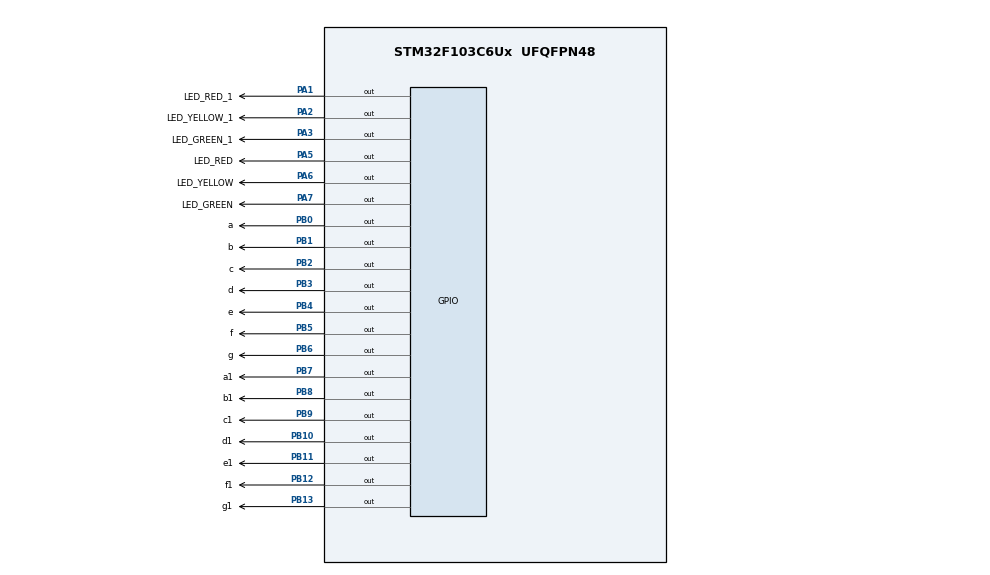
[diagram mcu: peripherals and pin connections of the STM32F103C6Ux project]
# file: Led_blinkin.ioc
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Mcu.Family=STM32F1
Mcu.Name=STM32F103C6Ux
Mcu.Package=UFQFPN48
NVIC.PriorityGroup=NVIC_PRIORITYGROUP_4
PA1.GPIO_Label=LED_RED_1
PA1.Signal=GPIO_Output
PA2.GPIO_Label=LED_YELLOW_1
PA2.Signal=GPIO_Output
PA3.GPIO_Label=LED_GREEN_1
PA3.Signal=GPIO_Output
PA5.GPIO_Label=LED_RED
PA5.Signal=GPIO_Output
PA6.GPIO_Label=LED_YELLOW
PA6.Signal=GPIO_Output
PA7.GPIO_Label=LED_GREEN
PA7.Signal=GPIO_Output
PB0.GPIO_Label=a
PB0.Signal=GPIO_Output
PB1.GPIO_Label=b
PB1.Signal=GPIO_Output
PB10.GPIO_Label=d1
PB10.Signal=GPIO_Output
PB11.GPIO_Label=e1
PB11.Signal=GPIO_Output
PB12.GPIO_Label=f1
PB12.Signal=GPIO_Output
PB13.GPIO_Label=g1
PB13.Signal=GPIO_Output
PB2.GPIO_Label=c
PB2.Signal=GPIO_Output
PB3.GPIO_Label=d
PB3.Signal=GPIO_Output
PB4.GPIO_Label=e
PB4.Signal=GPIO_Output
PB5.GPIO_Label=f
PB5.Signal=GPIO_Output
PB6.GPIO_Label=g
PB6.Signal=GPIO_Output
PB7.GPIO_Label=a1
PB7.Signal=GPIO_Output
PB8.GPIO_Label=b1
PB8.Signal=GPIO_Output
PB9.GPIO_Label=c1
PB9.Signal=GPIO_Output
ProjectManager.HeapSize=0x200
ProjectManager.StackSize=0x400
ProjectManager.TargetToolchain=STM32CubeIDE
RCC.APB1Freq_Value=8000000
RCC.APB2Freq_Value=8000000
VP_SYS_VS_ND.Mode=No_Debug
board=custom

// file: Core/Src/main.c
/* USER CODE BEGIN Header */
/**
  ******************************************************************************
  * @file           : main.c
  * @brief          : Main program body
  ******************************************************************************
  * @attention
  *
  * <h2><center>&copy; Copyright (c) 2022 STMicroelectronics.
  * All rights reserved.</center></h2>
  *
  * This software component is licensed by ST under BSD 3-Clause license,
  * the "License"; You may not use this file except in compliance with the
  * License. You may obtain a copy of the License at:
  *                        opensource.org/licenses/BSD-3-Clause
  *
  ******************************************************************************
  */
/* USER CODE END Header */
#include "main.h"

void SystemClock_Config(void);
static void MX_GPIO_Init(void);

/* USER CODE BEGIN 0 */
void display7SEG2(int numb)
{
	    if(numb == 0)
		{
			HAL_GPIO_WritePin(a1_GPIO_Port, a1_Pin, GPIO_PIN_RESET);
			HAL_GPIO_WritePin(b1_GPIO_Port, b1_Pin, GPIO_PIN_RESET);
			HAL_GPIO_WritePin(c1_GPIO_Port, c1_Pin, GPIO_PIN_RESET);
			HAL_GPIO_WritePin(d1_GPIO_Port, d1_Pin, GPIO_PIN_RESET);
			HAL_GPIO_WritePin(e1_GPIO_Port, e1_Pin, GPIO_PIN_RESET);
			HAL_GPIO_WritePin(f1_GPIO_Port, f1_Pin, GPIO_PIN_RESET);
			HAL_GPIO_WritePin(g1_GPIO_Port, g1_Pin, GPIO_PIN_SET);
		}
		if(numb == 1)
		{
			HAL_GPIO_WritePin(a1_GPIO_Port, a1_Pin, GPIO_PIN_SET);
			HAL_GPIO_WritePin(b1_GPIO_Port, b1_Pin, GPIO_PIN_RESET);
			HAL_GPIO_WritePin(c1_GPIO_Port, c1_Pin, GPIO_PIN_RESET);
			HAL_GPIO_WritePin(d1_GPIO_Port, d1_Pin, GPIO_PIN_SET);
			HAL_GPIO_WritePin(e1_GPIO_Port, e1_Pin, GPIO_PIN_SET);
			HAL_GPIO_WritePin(f1_GPIO_Port, f1_Pin, GPIO_PIN_SET);
			HAL_GPIO_WritePin(g1_GPIO_Port, g1_Pin, GPIO_PIN_SET);
		}
		if(numb == 2)
		{
			HAL_GPIO_WritePin(a1_GPIO_Port, a1_Pin, GPIO_PIN_RESET);
			HAL_GPIO_WritePin(b1_GPIO_Port, b1_Pin, GPIO_PIN_RESET);
			HAL_GPIO_WritePin(c1_GPIO_Port, c1_Pin, GPIO_PIN_SET);
			HAL_GPIO_WritePin(d1_GPIO_Port, d1_Pin, GPIO_PIN_RESET);
			HAL_GPIO_WritePin(e1_GPIO_Port, e1_Pin, GPIO_PIN_RESET);
			HAL_GPIO_WritePin(f1_GPIO_Port, f1_Pin, GPIO_PIN_SET);
			HAL_GPIO_WritePin(g1_GPIO_Port, g1_Pin, GPIO_PIN_RESET);
		}
		if(numb == 3)
		{
			HAL_GPIO_WritePin(a1_GPIO_Port, a1_Pin, GPIO_PIN_RESET);
			HAL_GPIO_WritePin(b1_GPIO_Port, b1_Pin, GPIO_PIN_RESET);
			HAL_GPIO_WritePin(c1_GPIO_Port, c1_Pin, GPIO_PIN_RESET);
			HAL_GPIO_WritePin(d1_GPIO_Port, d1_Pin, GPIO_PIN_RESET);
			HAL_GPIO_WritePin(e1_GPIO_Port, e1_Pin, GPIO_PIN_SET);
			HAL_GPIO_WritePin(f1_GPIO_Port, f1_Pin, GPIO_PIN_SET);
			HAL_GPIO_WritePin(g1_GPIO_Port, g1_Pin, GPIO_PIN_RESET);
		}
		if(numb == 4)
			{
				HAL_GPIO_WritePin(a1_GPIO_Port, a1_Pin, GPIO_PIN_SET);
				HAL_GPIO_WritePin(b1_GPIO_Port, b1_Pin, GPIO_PIN_RESET);
				HAL_GPIO_WritePin(c1_GPIO_Port, c1_Pin, GPIO_PIN_RESET);
				HAL_GPIO_WritePin(d1_GPIO_Port, d1_Pin, GPIO_PIN_SET);
				HAL_GPIO_WritePin(e1_GPIO_Port, e1_Pin, GPIO_PIN_SET);
				HAL_GPIO_WritePin(f1_GPIO_Port, f1_Pin, GPIO_PIN_RESET);
				HAL_GPIO_WritePin(g1_GPIO_Port, g1_Pin, GPIO_PIN_RESET);
			}
		if(numb == 5)
			{
				HAL_GPIO_WritePin(a1_GPIO_Port, a1_Pin, GPIO_PIN_RESET);
				HAL_GPIO_WritePin(b1_GPIO_Port, b1_Pin, GPIO_PIN_SET);
				HAL_GPIO_WritePin(c1_GPIO_Port, c1_Pin, GPIO_PIN_RESET);
				HAL_GPIO_WritePin(d1_GPIO_Port, d1_Pin, GPIO_PIN_RESET);
				HAL_GPIO_WritePin(e1_GPIO_Port, e1_Pin, GPIO_PIN_SET);
				HAL_GPIO_WritePin(f1_GPIO_Port, f1_Pin, GPIO_PIN_RESET);
				HAL_GPIO_WritePin(g1_GPIO_Port, g1_Pin, GPIO_PIN_RESET);
			}
		if(numb == 6)
			{
				HAL_GPIO_WritePin(a1_GPIO_Port, a1_Pin, GPIO_PIN_RESET);
				HAL_GPIO_WritePin(b1_GPIO_Port, b1_Pin, GPIO_PIN_SET);
				HAL_GPIO_WritePin(c1_GPIO_Port, c1_Pin, GPIO_PIN_RESET);
				HAL_GPIO_WritePin(d1_GPIO_Port, d1_Pin, GPIO_PIN_RESET);
				HAL_GPIO_WritePin(e1_GPIO_Port, e1_Pin, GPIO_PIN_RESET);
				HAL_GPIO_WritePin(f1_GPIO_Port, f1_Pin, GPIO_PIN_RESET);
				HAL_GPIO_WritePin(g1_GPIO_Port, g1_Pin, GPIO_PIN_RESET);
			}
		if(numb == 7)
			{
				HAL_GPIO_WritePin(a1_GPIO_Port, a1_Pin, GPIO_PIN_RESET);
				HAL_GPIO_WritePin(b1_GPIO_Port, b1_Pin, GPIO_PIN_RESET);
				HAL_GPIO_WritePin(c1_GPIO_Port, c1_Pin, GPIO_PIN_RESET);
				HAL_GPIO_WritePin(d1_GPIO_Port, d1_Pin, GPIO_PIN_SET);
				HAL_GPIO_WritePin(e1_GPIO_Port, e1_Pin, GPIO_PIN_SET);
				HAL_GPIO_WritePin(f1_GPIO_Port, f1_Pin, GPIO_PIN_SET);
				HAL_GPIO_WritePin(g1_GPIO_Port, g1_Pin, GPIO_PIN_SET);
			}
		if(numb == 8)
			{
				HAL_GPIO_WritePin(a1_GPIO_Port, a1_Pin, GPIO_PIN_RESET);
				HAL_GPIO_WritePin(b1_GPIO_Port, b1_Pin, GPIO_PIN_RESET);
				HAL_GPIO_WritePin(c1_GPIO_Port, c1_Pin, GPIO_PIN_RESET);
				HAL_GPIO_WritePin(d1_GPIO_Port, d1_Pin, GPIO_PIN_RESET);
				HAL_GPIO_WritePin(e1_GPIO_Port, e1_Pin, GPIO_PIN_RESET);
				HAL_GPIO_WritePin(f1_GPIO_Port, f1_Pin, GPIO_PIN_RESET);
				HAL_GPIO_WritePin(g1_GPIO_Port, g1_Pin, GPIO_PIN_RESET);
			}
		if(numb == 9)
			{
				HAL_GPIO_WritePin(a1_GPIO_Port, a1_Pin, GPIO_PIN_RESET);
				HAL_GPIO_WritePin(b1_GPIO_Port, b1_Pin, GPIO_PIN_RESET);
				HAL_GPIO_WritePin(c1_GPIO_Port, c1_Pin, GPIO_PIN_RESET);
				HAL_GPIO_WritePin(d1_GPIO_Port, d1_Pin, GPIO_PIN_RESET);
				HAL_GPIO_WritePin(e1_GPIO_Port, e1_Pin, GPIO_PIN_SET);
				HAL_GPIO_WritePin(f1_GPIO_Port, f1_Pin, GPIO_PIN_RESET);
				HAL_GPIO_WritePin(g1_GPIO_Port, g1_Pin, GPIO_PIN_RESET);
			}
}
void display7SEG(int numb)
{
	if(numb == 0)
	{
		HAL_GPIO_WritePin(a_GPIO_Port, a_Pin, GPIO_PIN_RESET);
		HAL_GPIO_WritePin(b_GPIO_Port, b_Pin, GPIO_PIN_RESET);
		HAL_GPIO_WritePin(c_GPIO_Port, c_Pin, GPIO_PIN_RESET);
		HAL_GPIO_WritePin(d_GPIO_Port, d_Pin, GPIO_PIN_RESET);
		HAL_GPIO_WritePin(e_GPIO_Port, e_Pin, GPIO_PIN_RESET);
		HAL_GPIO_WritePin(f_GPIO_Port, f_Pin, GPIO_PIN_RESET);
		HAL_GPIO_WritePin(g_GPIO_Port, g_Pin, GPIO_PIN_SET);
	}
	if(numb == 1)
	{
		HAL_GPIO_WritePin(a_GPIO_Port, a_Pin, GPIO_PIN_SET);
		HAL_GPIO_WritePin(b_GPIO_Port, b_Pin, GPIO_PIN_RESET);
		HAL_GPIO_WritePin(c_GPIO_Port, c_Pin, GPIO_PIN_RESET);
		HAL_GPIO_WritePin(d_GPIO_Port, d_Pin, GPIO_PIN_SET);
		HAL_GPIO_WritePin(e_GPIO_Port, e_Pin, GPIO_PIN_SET);
		HAL_GPIO_WritePin(f_GPIO_Port, f_Pin, GPIO_PIN_SET);
		HAL_GPIO_WritePin(g_GPIO_Port, g_Pin, GPIO_PIN_SET);
	}
	if(numb == 2)
	{
		HAL_GPIO_WritePin(a_GPIO_Port, a_Pin, GPIO_PIN_RESET);
		HAL_GPIO_WritePin(b_GPIO_Port, b_Pin, GPIO_PIN_RESET);
		HAL_GPIO_WritePin(c_GPIO_Port, c_Pin, GPIO_PIN_SET);
		HAL_GPIO_WritePin(d_GPIO_Port, d_Pin, GPIO_PIN_RESET);
		HAL_GPIO_WritePin(e_GPIO_Port, e_Pin, GPIO_PIN_RESET);
		HAL_GPIO_WritePin(f_GPIO_Port, f_Pin, GPIO_PIN_SET);
		HAL_GPIO_WritePin(g_GPIO_Port, g_Pin, GPIO_PIN_RESET);
	}
	if(numb == 3)
	{
		HAL_GPIO_WritePin(a_GPIO_Port, a_Pin, GPIO_PIN_RESET);
		HAL_GPIO_WritePin(b_GPIO_Port, b_Pin, GPIO_PIN_RESET);
		HAL_GPIO_WritePin(c_GPIO_Port, c_Pin, GPIO_PIN_RESET);
		HAL_GPIO_WritePin(d_GPIO_Port, d_Pin, GPIO_PIN_RESET);
		HAL_GPIO_WritePin(e_GPIO_Port, e_Pin, GPIO_PIN_SET);
		HAL_GPIO_WritePin(f_GPIO_Port, f_Pin, GPIO_PIN_SET);
		HAL_GPIO_WritePin(g_GPIO_Port, g_Pin, GPIO_PIN_RESET);
	}
	if(numb == 4)
		{
			HAL_GPIO_WritePin(a_GPIO_Port, a_Pin, GPIO_PIN_SET);
			HAL_GPIO_WritePin(b_GPIO_Port, b_Pin, GPIO_PIN_RESET);
			HAL_GPIO_WritePin(c_GPIO_Port, c_Pin, GPIO_PIN_RESET);
			HAL_GPIO_WritePin(d_GPIO_Port, d_Pin, GPIO_PIN_SET);
			HAL_GPIO_WritePin(e_GPIO_Port, e_Pin, GPIO_PIN_SET);
			HAL_GPIO_WritePin(f_GPIO_Port, f_Pin, GPIO_PIN_RESET);
			HAL_GPIO_WritePin(g_GPIO_Port, g_Pin, GPIO_PIN_RESET);
		}
	if(numb == 5)
		{
			HAL_GPIO_WritePin(a_GPIO_Port, a_Pin, GPIO_PIN_RESET);
			HAL_GPIO_WritePin(b_GPIO_Port, b_Pin, GPIO_PIN_SET);
			HAL_GPIO_WritePin(c_GPIO_Port, c_Pin, GPIO_PIN_RESET);
			HAL_GPIO_WritePin(d_GPIO_Port, d_Pin, GPIO_PIN_RESET);
			HAL_GPIO_WritePin(e_GPIO_Port, e_Pin, GPIO_PIN_SET);
			HAL_GPIO_WritePin(f_GPIO_Port, f_Pin, GPIO_PIN_RESET);
			HAL_GPIO_WritePin(g_GPIO_Port, g_Pin, GPIO_PIN_RESET);
		}
	if(numb == 6)
		{
			HAL_GPIO_WritePin(a_GPIO_Port, a_Pin, GPIO_PIN_RESET);
			HAL_GPIO_WritePin(b_GPIO_Port, b_Pin, GPIO_PIN_SET);
			HAL_GPIO_WritePin(c_GPIO_Port, c_Pin, GPIO_PIN_RESET);
			HAL_GPIO_WritePin(d_GPIO_Port, d_Pin, GPIO_PIN_RESET);
			HAL_GPIO_WritePin(e_GPIO_Port, e_Pin, GPIO_PIN_RESET);
			HAL_GPIO_WritePin(f_GPIO_Port, f_Pin, GPIO_PIN_RESET);
			HAL_GPIO_WritePin(g_GPIO_Port, g_Pin, GPIO_PIN_RESET);
		}
	if(numb == 7)
		{
			HAL_GPIO_WritePin(a_GPIO_Port, a_Pin, GPIO_PIN_RESET);
			HAL_GPIO_WritePin(b_GPIO_Port, b_Pin, GPIO_PIN_RESET);
			HAL_GPIO_WritePin(c_GPIO_Port, c_Pin, GPIO_PIN_RESET);
			HAL_GPIO_WritePin(d_GPIO_Port, d_Pin, GPIO_PIN_SET);
			HAL_GPIO_WritePin(e_GPIO_Port, e_Pin, GPIO_PIN_SET);
			HAL_GPIO_WritePin(f_GPIO_Port, f_Pin, GPIO_PIN_SET);
			HAL_GPIO_WritePin(g_GPIO_Port, g_Pin, GPIO_PIN_SET);
		}
	if(numb == 8)
		{
			HAL_GPIO_WritePin(a_GPIO_Port, a_Pin, GPIO_PIN_RESET);
			HAL_GPIO_WritePin(b_GPIO_Port, b_Pin, GPIO_PIN_RESET);
			HAL_GPIO_WritePin(c_GPIO_Port, c_Pin, GPIO_PIN_RESET);
			HAL_GPIO_WritePin(d_GPIO_Port, d_Pin, GPIO_PIN_RESET);
			HAL_GPIO_WritePin(e_GPIO_Port, e_Pin, GPIO_PIN_RESET);
			HAL_GPIO_WritePin(f_GPIO_Port, f_Pin, GPIO_PIN_RESET);
			HAL_GPIO_WritePin(g_GPIO_Port, g_Pin, GPIO_PIN_RESET);
		}
	if(numb == 9)
		{
			HAL_GPIO_WritePin(a_GPIO_Port, a_Pin, GPIO_PIN_RESET);
			HAL_GPIO_WritePin(b_GPIO_Port, b_Pin, GPIO_PIN_RESET);
			HAL_GPIO_WritePin(c_GPIO_Port, c_Pin, GPIO_PIN_RESET);
			HAL_GPIO_WritePin(d_GPIO_Port, d_Pin, GPIO_PIN_RESET);
			HAL_GPIO_WritePin(e_GPIO_Port, e_Pin, GPIO_PIN_SET);
			HAL_GPIO_WritePin(f_GPIO_Port, f_Pin, GPIO_PIN_RESET);
			HAL_GPIO_WritePin(g_GPIO_Port, g_Pin, GPIO_PIN_RESET);
		}

}
/* USER CODE END 0 */

int main(void)
{

  /* MCU Configuration--------------------------------------------------------*/

  /* Reset of all peripherals, Initializes the Flash interface and the Systick. */
  HAL_Init();

  /* Configure the system clock */
  SystemClock_Config();

  /* Initialize all configured peripherals */
  MX_GPIO_Init();

  /* Infinite loop */
  /* USER CODE BEGIN WHILE */
  int count_time = 0;
  while (1)
  {
	  if(count_time > 9) count_time = 0;
	  if(count_time <= 2 ) /* green on the first and red on the second */
	  	  {
		  	display7SEG(2 - count_time);
		  	display7SEG2(4 - count_time);
		  	HAL_GPIO_WritePin(LED_RED_GPIO_Port, LED_RED_Pin, GPIO_PIN_SET);
	  	    HAL_GPIO_WritePin(LED_YELLOW_GPIO_Port, LED_YELLOW_Pin, GPIO_PIN_SET);
	  	    HAL_GPIO_WritePin(LED_GREEN_1_GPIO_Port, LED_GREEN_1_Pin, GPIO_PIN_SET);
	  		HAL_GPIO_WritePin(LED_YELLOW_1_GPIO_Port, LED_YELLOW_1_Pin, GPIO_PIN_SET);
	  		HAL_GPIO_WritePin(LED_GREEN_GPIO_Port, LED_GREEN_Pin, GPIO_PIN_RESET);
	  		HAL_GPIO_WritePin(LED_RED_1_GPIO_Port, LED_RED_1_Pin, GPIO_PIN_RESET);
	  	  }
	  else if(count_time <= 4) /*yellow on the first and red on the second */
	  	  {
	  		display7SEG(4 - count_time);
	  		display7SEG2(4 - count_time);
	  		HAL_GPIO_WritePin(LED_GREEN_1_GPIO_Port, LED_GREEN_1_Pin, GPIO_PIN_SET);
	  		HAL_GPIO_WritePin(LED_YELLOW_1_GPIO_Port, LED_YELLOW_1_Pin, GPIO_PIN_SET);
	  		HAL_GPIO_WritePin(LED_GREEN_GPIO_Port, LED_GREEN_Pin, GPIO_PIN_SET);
	  	    HAL_GPIO_WritePin(LED_RED_GPIO_Port, LED_RED_Pin, GPIO_PIN_SET);
	  		HAL_GPIO_WritePin(LED_YELLOW_GPIO_Port, LED_YELLOW_Pin, GPIO_PIN_RESET);
	  		HAL_GPIO_WritePin(LED_RED_1_GPIO_Port, LED_RED_1_Pin, GPIO_PIN_RESET);
	  	  }
	  else if(count_time <= 7) /*red on the first and green on the second*/
	  	  {
	  		display7SEG(9 - count_time);
	  		display7SEG2(7 - count_time);
	  		HAL_GPIO_WritePin(LED_YELLOW_GPIO_Port, LED_YELLOW_Pin, GPIO_PIN_SET);
	  		HAL_GPIO_WritePin(LED_GREEN_GPIO_Port, LED_GREEN_Pin, GPIO_PIN_SET);
	  		HAL_GPIO_WritePin(LED_RED_1_GPIO_Port, LED_RED_1_Pin, GPIO_PIN_SET);
	  		HAL_GPIO_WritePin(LED_YELLOW_1_GPIO_Port, LED_YELLOW_1_Pin, GPIO_PIN_SET);
	  		HAL_GPIO_WritePin(LED_RED_GPIO_Port, LED_RED_Pin, GPIO_PIN_RESET);
	  		HAL_GPIO_WritePin(LED_GREEN_1_GPIO_Port, LED_GREEN_1_Pin, GPIO_PIN_RESET);
	  	  }
	  else if(count_time <= 9) /*red on the first and yellow on the second*/
	  	  {
	  		display7SEG(9 - count_time);
	  		display7SEG2(9 - count_time);
	  		HAL_GPIO_WritePin(LED_YELLOW_GPIO_Port, LED_YELLOW_Pin, GPIO_PIN_SET);
	  		HAL_GPIO_WritePin(LED_GREEN_GPIO_Port, LED_GREEN_Pin, GPIO_PIN_SET);
	  		HAL_GPIO_WritePin(LED_GREEN_1_GPIO_Port, LED_GREEN_1_Pin, GPIO_PIN_SET);
	  		HAL_GPIO_WritePin(LED_RED_1_GPIO_Port, LED_RED_1_Pin, GPIO_PIN_SET);
	  		HAL_GPIO_WritePin(LED_RED_GPIO_Port, LED_RED_Pin, GPIO_PIN_RESET);
	  		HAL_GPIO_WritePin(LED_YELLOW_1_GPIO_Port, LED_YELLOW_1_Pin, GPIO_PIN_RESET);
	  	  }
	  	  count_time++;
	  	  HAL_Delay(1000);

    /* USER CODE END WHILE */

  }
}

void SystemClock_Config(void)
{
  RCC_OscInitTypeDef RCC_OscInitStruct = {0};
  RCC_ClkInitTypeDef RCC_ClkInitStruct = {0};

  /** Initializes the RCC Oscillators according to the specified parameters
  * in the RCC_OscInitTypeDef structure.
  */
  RCC_OscInitStruct.OscillatorType = RCC_OSCILLATORTYPE_HSI;
  RCC_OscInitStruct.HSIState = RCC_HSI_ON;
  RCC_OscInitStruct.HSICalibrationValue = RCC_HSICALIBRATION_DEFAULT;
  RCC_OscInitStruct.PLL.PLLState = RCC_PLL_NONE;
  if (HAL_RCC_OscConfig(&RCC_OscInitStruct) != HAL_OK)
  {
    Error_Handler();
  }
  /** Initializes the CPU, AHB and APB buses clocks
  */
  RCC_ClkInitStruct.ClockType = RCC_CLOCKTYPE_HCLK|RCC_CLOCKTYPE_SYSCLK
                              |RCC_CLOCKTYPE_PCLK1|RCC_CLOCKTYPE_PCLK2;
  RCC_ClkInitStruct.SYSCLKSource = RCC_SYSCLKSOURCE_HSI;
  RCC_ClkInitStruct.AHBCLKDivider = RCC_SYSCLK_DIV1;
  RCC_ClkInitStruct.APB1CLKDivider = RCC_HCLK_DIV1;
  RCC_ClkInitStruct.APB2CLKDivider = RCC_HCLK_DIV1;

  if (HAL_RCC_ClockConfig(&RCC_ClkInitStruct, FLASH_LATENCY_0) != HAL_OK)
  {
    Error_Handler();
  }
}

static void MX_GPIO_Init(void)
{
  GPIO_InitTypeDef GPIO_InitStruct = {0};

  /* GPIO Ports Clock Enable */
  __HAL_RCC_GPIOA_CLK_ENABLE();
  __HAL_RCC_GPIOB_CLK_ENABLE();

  /*Configure GPIO pin Output Level */
  HAL_GPIO_WritePin(GPIOA, LED_RED_1_Pin|LED_YELLOW_1_Pin|LED_GREEN_1_Pin|LED_RED_Pin
                          |LED_YELLOW_Pin|LED_GREEN_Pin, GPIO_PIN_RESET);

  /*Configure GPIO pin Output Level */
  HAL_GPIO_WritePin(GPIOB, a_Pin|b_Pin|c_Pin|d1_Pin
                          |e1_Pin|f1_Pin|g1_Pin|d_Pin
                          |e_Pin|f_Pin|g_Pin|a1_Pin
                          |b1_Pin|c1_Pin, GPIO_PIN_RESET);

  /*Configure GPIO pins : LED_RED_1_Pin LED_YELLOW_1_Pin LED_GREEN_1_Pin LED_RED_Pin
                           LED_YELLOW_Pin LED_GREEN_Pin */
  GPIO_InitStruct.Pin = LED_RED_1_Pin|LED_YELLOW_1_Pin|LED_GREEN_1_Pin|LED_RED_Pin
                          |LED_YELLOW_Pin|LED_GREEN_Pin;
  GPIO_InitStruct.Mode = GPIO_MODE_OUTPUT_PP;
  GPIO_InitStruct.Pull = GPIO_NOPULL;
  GPIO_InitStruct.Speed = GPIO_SPEED_FREQ_LOW;
  HAL_GPIO_Init(GPIOA, &GPIO_InitStruct);

  /*Configure GPIO pins : a_Pin b_Pin c_Pin d1_Pin
                           e1_Pin f1_Pin g1_Pin d_Pin
                           e_Pin f_Pin g_Pin a1_Pin
                           b1_Pin c1_Pin */
  GPIO_InitStruct.Pin = a_Pin|b_Pin|c_Pin|d1_Pin
                          |e1_Pin|f1_Pin|g1_Pin|d_Pin
                          |e_Pin|f_Pin|g_Pin|a1_Pin
                          |b1_Pin|c1_Pin;
  GPIO_InitStruct.Mode = GPIO_MODE_OUTPUT_PP;
  GPIO_InitStruct.Pull = GPIO_NOPULL;
  GPIO_InitStruct.Speed = GPIO_SPEED_FREQ_LOW;
  HAL_GPIO_Init(GPIOB, &GPIO_InitStruct);

}

void Error_Handler(void)
{
  __disable_irq();
  while (1)
  {
  }
}

/************************ (C) COPYRIGHT STMicroelectronics *****END OF FILE****/
